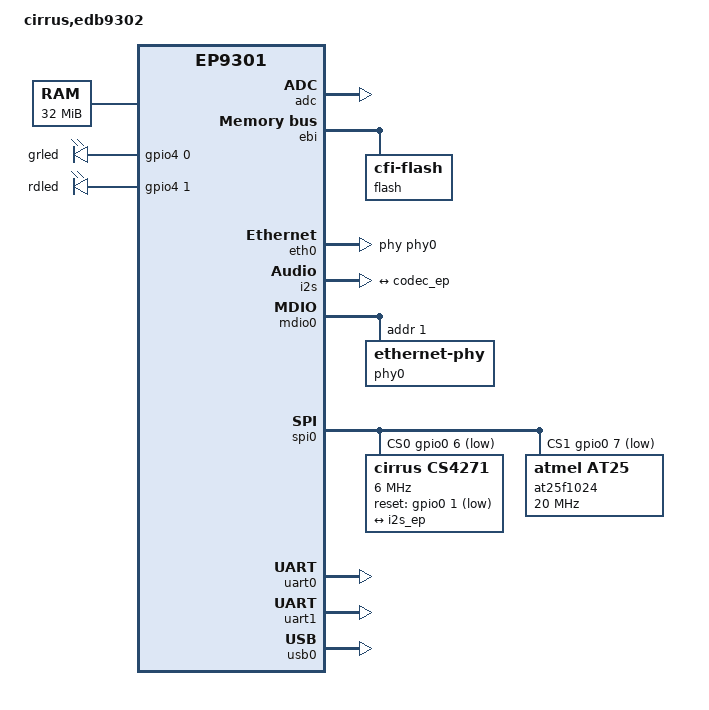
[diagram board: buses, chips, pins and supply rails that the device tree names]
// SPDX-License-Identifier: GPL-2.0-only OR BSD-2-Clause
/*
 * Device Tree file for Cirrus Logic EDB9302 board based on EP9302 SoC
 */
/dts-v1/;
#include "ep93xx.dtsi"

/ {
	#address-cells = <1>;
	#size-cells = <1>;
	compatible = "cirrus,edb9302", "cirrus,ep9301";
	model = "cirrus,edb9302";

	chosen {
	};

	memory@0 {
		device_type = "memory";
		/* should be set from ATAGS */
		reg = <0x0000000 0x800000>,
		      <0x1000000 0x800000>,
		      <0x4000000 0x800000>,
		      <0x5000000 0x800000>;
	};

	sound {
		compatible = "audio-graph-card2";
		label = "EDB93XX";
		links = <&i2s_port>;
	};

	leds {
		compatible = "gpio-leds";
		led-0 {
			label = "grled";
			gpios = <&gpio4 0 GPIO_ACTIVE_HIGH>;
			linux,default-trigger = "heartbeat";
			function = LED_FUNCTION_HEARTBEAT;
		};

		led-1 {
			label = "rdled";
			gpios = <&gpio4 1 GPIO_ACTIVE_HIGH>;
			function = LED_FUNCTION_FAULT;
		};
	};
};

&adc {
	status = "okay";
};

&ebi {
	flash@60000000 {
		compatible = "cfi-flash";
		reg = <0x60000000 0x1000000>;
		bank-width = <2>;
	};
};

&eth0 {
	phy-handle = <&phy0>;
};

&gpio0 {
	gpio-ranges = <&syscon 0 153 1>,
		      <&syscon 1 152 1>,
		      <&syscon 2 151 1>,
		      <&syscon 3 148 1>,
		      <&syscon 4 147 1>,
		      <&syscon 5 146 1>,
		      <&syscon 6 145 1>,
		      <&syscon 7 144 1>;
};

&gpio1 {
	gpio-ranges = <&syscon 0 143 1>,
		      <&syscon 1 142 1>,
		      <&syscon 2 141 1>,
		      <&syscon 3 140 1>,
		      <&syscon 4 165 1>,
		      <&syscon 5 164 1>,
		      <&syscon 6 163 1>,
		      <&syscon 7 160 1>;
};

&gpio2 {
	gpio-ranges = <&syscon 0 115 1>;
};

/* edb9302 doesn't have GPIO Port D present */
&gpio3 {
	status = "disabled";
};

&gpio4 {
	gpio-ranges = <&syscon 0 97 2>;
};

&gpio5 {
	gpio-ranges = <&syscon 1 170 1>,
		      <&syscon 2 169 1>,
		      <&syscon 3 168 1>;
};

&gpio6 {
	gpio-ranges = <&syscon 0 87 2>;
};

&gpio7 {
	gpio-ranges = <&syscon 2 199 4>;
};

&i2s {
	pinctrl-names = "default";
	pinctrl-0 = <&i2s_on_ac97_pins>;
	status = "okay";
	i2s_port: port {
		i2s_ep: endpoint {
			system-clock-direction-out;
			frame-master;
			bitclock-master;
			mclk-fs = <256>;
			dai-format = "i2s";
			convert-channels = <2>;
			convert-sample-format = "s32_le";
			remote-endpoint = <&codec_ep>;
		};
	};
};

&mdio0 {
	phy0: ethernet-phy@1 {
		reg = <1>;
		device_type = "ethernet-phy";
	};
};

&spi0 {
	cs-gpios = <&gpio0 6 GPIO_ACTIVE_LOW
		    &gpio0 7 GPIO_ACTIVE_LOW>;
	dmas = <&dma1 10 2>, <&dma1 10 1>;
	dma-names = "rx", "tx";
	status = "okay";

	cs4271: codec@0 {
		compatible = "cirrus,cs4271";
		reg = <0>;
		#sound-dai-cells = <0>;
		spi-max-frequency = <6000000>;
		spi-cpol;
		spi-cpha;
		reset-gpios = <&gpio0 1 GPIO_ACTIVE_LOW>;
		port {
			codec_ep: endpoint {
				remote-endpoint = <&i2s_ep>;
			};
		};
	};

	at25f1024: eeprom@1 {
		compatible = "atmel,at25";
		reg = <1>;
		address-width = <8>;
		size = <0x20000>;
		pagesize = <256>;
		spi-max-frequency = <20000000>;
	};
};

&uart0 {
	status = "okay";
};

&uart1 {
	status = "okay";
};

&usb0 {
	status = "okay";
};
